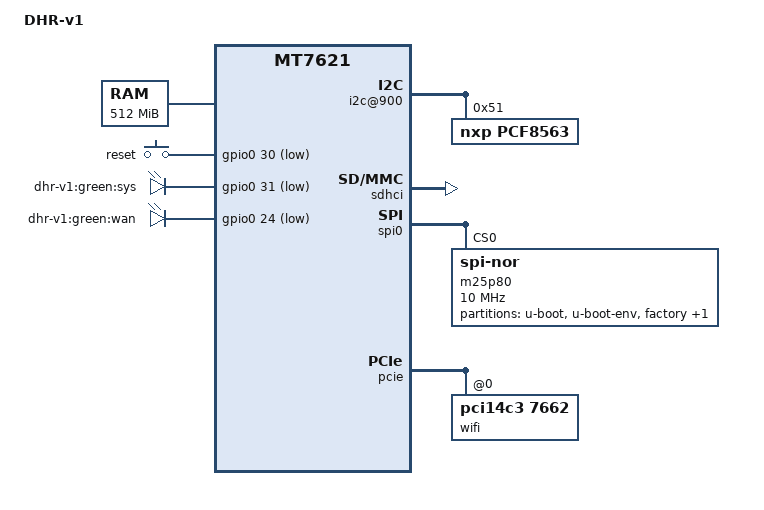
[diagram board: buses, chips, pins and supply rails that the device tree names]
/dts-v1/;

#include "mt7621.dtsi"

#include <dt-bindings/gpio/gpio.h>
#include <dt-bindings/input/input.h>

/ {
	compatible = "dhitek,dhr-v1", "mediatek,mt7621-soc";
	model = "DHR-v1";

	memory@0 {
		device_type = "memory";
		reg = <0x0 0x1c000000>, <0x20000000 0x4000000>;
	};

	chosen {
		bootargs = "console=ttyS0,115200";
	};

	palmbus: palmbus@1E000000 {
		i2c@900 {
			status = "okay";
			pcf8563: rtc@51 {
				status = "okay";
				compatible = "nxp,pcf8563";
				reg = <0x51>;
			};
		};
	};

	gpio-keys-polled {
		compatible = "gpio-keys-polled";
		#address-cells = <1>;
		#size-cells = <0>;
		poll-interval = <20>;

		reset {
			label = "reset";
			gpios = <&gpio0 30 GPIO_ACTIVE_LOW>;
			linux,code = <KEY_RESTART>;
		};
	};

	gpio-leds {
		compatible = "gpio-leds";

		sys {
			label = "dhr-v1:green:sys";
			gpios = <&gpio0 31 GPIO_ACTIVE_LOW>;
		};
		wan {
			label = "dhr-v1:green:wan";
			gpios = <&gpio0 24 GPIO_ACTIVE_LOW>;
		};
	};
};

&sdhci {
	status = "okay";
};

&spi0 {
	status = "okay";

	m25p80@0 {
		#address-cells = <1>;
		#size-cells = <1>;
		compatible = "jedec,spi-nor";
		reg = <0>;
		spi-max-frequency = <10000000>;
		m25p,chunked-io = <32>;

		partition@0 {
			label = "u-boot";
			reg = <0x0 0x30000>;
			read-only;
		};

		partition@30000 {
			label = "u-boot-env";
			reg = <0x30000 0x10000>;
			read-only;
		};

		factory: partition@40000 {
			label = "factory";
			reg = <0x40000 0x10000>;
			read-only;
		};

		firmware: partition@50000 {
			label = "firmware";
			reg = <0x50000 0xfb0000>;
		};
	};
};

&pcie {
	status = "okay";

	pcie0 {
		wifi@14c3,7662 {
			compatible = "pci14c3,7662";
			reg = <0x0000 0 0 0 0>;
			mediatek,mtd-eeprom = <&factory 0x0000>;
		};
	};
};

&ethernet {
	mtd-mac-address = <&factory 0x4>;
};

&pinctrl {
	state_default: pinctrl0 {
		gpio {
			ralink,group = "wdt", "rgmii2", "jtag", "mdio";
			ralink,function = "gpio";
		};
	};
};
